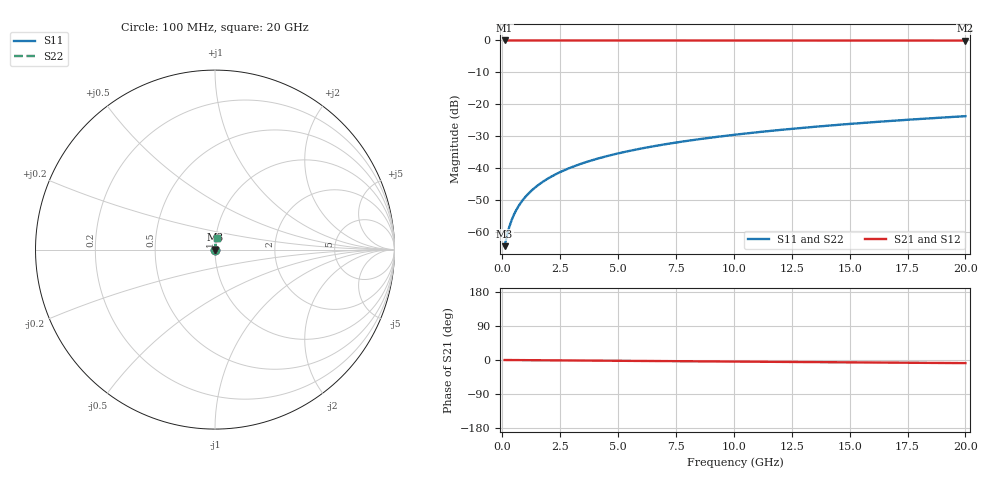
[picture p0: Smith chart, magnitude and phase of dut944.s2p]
! Touchstone file exported from HFSS 2026.1.0
!  File:  C:/ffzhzh/LocalFiles/Ansys_Project_Files/temp_train_TSV_944_1783187151_18472.aedt
!  Generated:  01:47:45 AM Jul  5, 2026
!  Design:  TSV
!  Project:  temp_train_TSV_944_1783187151_18472
! Variables:
!  h_bsmrdl = 2um
!  h_ox = 20um
!  h_rdl = 5um
!  h_sub = 72.64um
!  h_tmrdl = 5um
!  h_tsv = 72.64um
!  h_via = 3um
!  l_bsmrdl = 300um
!  l_sub = 408.68um
!  l_tmrdl = 200um
!  m_sub = 200um
!  pitch = 36.2um
!  r_tsv = 4.34um
!  s_tmrdl = 10um
!  w_bsmrdl = 18um
!  w_sub = 500um
!  w_tmrdl = 12um
!  x_tsv_center1 = 206um
!  x_tsv_center2 = 524um
!  x_tsv_center3 = 736um
!  x_tsv_center4 = 1054um
!  x_tsv_center5 = 1266um
!  x_tsv_center6 = 1584um
# GHz S MA R 50.000000
! Terminal data exported
! Port[1] = TSV1_1_T1
! Port[2] = TSV1_1_T2
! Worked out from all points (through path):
!   200 points, 100 MHz to 20 GHz, reference 50 ohm
!   highest |S21| = 0.00 dB at 100 MHz (marker M1); lowest = 0.0 dB at 20 GHz (marker M2)
!   group delay of S21, straight-line fit = 1.14 ps
!   lowest |S11| = -64.5 dB at 100 MHz (marker M3), VSWR 1.00, Z = 50 + j0.0365 ohm
!   |S11| at or under -10 dB: start of sweep to end of sweep
!   |S22| runs from -64.5 to -23.7 dB; largest |S21 - S12| = 2e-15
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0.1  0.000597 37.6  0.9995 -0.0  0.9995 -0.0  0.000597 37.6
! Gamma 0 0 0 0
! Port Impedance 50 0 50 0
0.2  0.0008714 56.2  0.9995 -0.1  0.9995 -0.1  0.0008714 56.2
0.3  0.001189 65.2  0.9995 -0.1  0.9995 -0.1  0.001189 65.2
0.4  0.001518 70.2  0.9995 -0.2  0.9995 -0.2  0.001518 70.2
0.5  0.001853 73.4  0.9995 -0.2  0.9995 -0.2  0.001853 73.4
0.6  0.002189 75.6  0.9995 -0.3  0.9995 -0.3  0.002189 75.6
0.8  0.002865 78.5  0.9994 -0.3  0.9994 -0.3  0.002865 78.5
1.1  0.003884 80.9  0.9994 -0.5  0.9994 -0.5  0.003884 80.9
1.5  0.005248 82.6  0.9994 -0.6  0.9994 -0.6  0.005248 82.6
1.8  0.00627 83.3  0.9993 -0.8  0.9993 -0.8  0.00627 83.3
2.1  0.007291 83.7  0.9993 -0.9  0.9993 -0.9  0.007291 83.7
2.7  0.009322 84.2  0.9992 -1.1  0.9992 -1.1  0.009322 84.2
3.5  0.01201 84.4  0.9991 -1.5  0.9991 -1.5  0.01201 84.4
4.2  0.01433 84.4  0.9989 -1.8  0.9989 -1.8  0.01433 84.4
5  0.01697 84.3  0.9988 -2.1  0.9988 -2.1  0.01697 84.3
5.9  0.01992 84.1  0.9986 -2.5  0.9986 -2.5  0.01992 84.1
6.8  0.02284 83.9  0.9984 -2.8  0.9984 -2.8  0.02284 83.9
8.3  0.0277 83.5  0.9982 -3.5  0.9982 -3.5  0.0277 83.5
10.1  0.03349 83.1  0.9978 -4.2  0.9978 -4.2  0.03349 83.1
13.4  0.04407 82.1  0.9972 -5.5  0.9972 -5.5  0.04407 82.1
16.7  0.05458 81.0  0.9965 -6.9  0.9965 -6.9  0.05458 81.0
20  0.06502 79.8  0.9956 -8.2  0.9956 -8.2  0.06502 79.8
